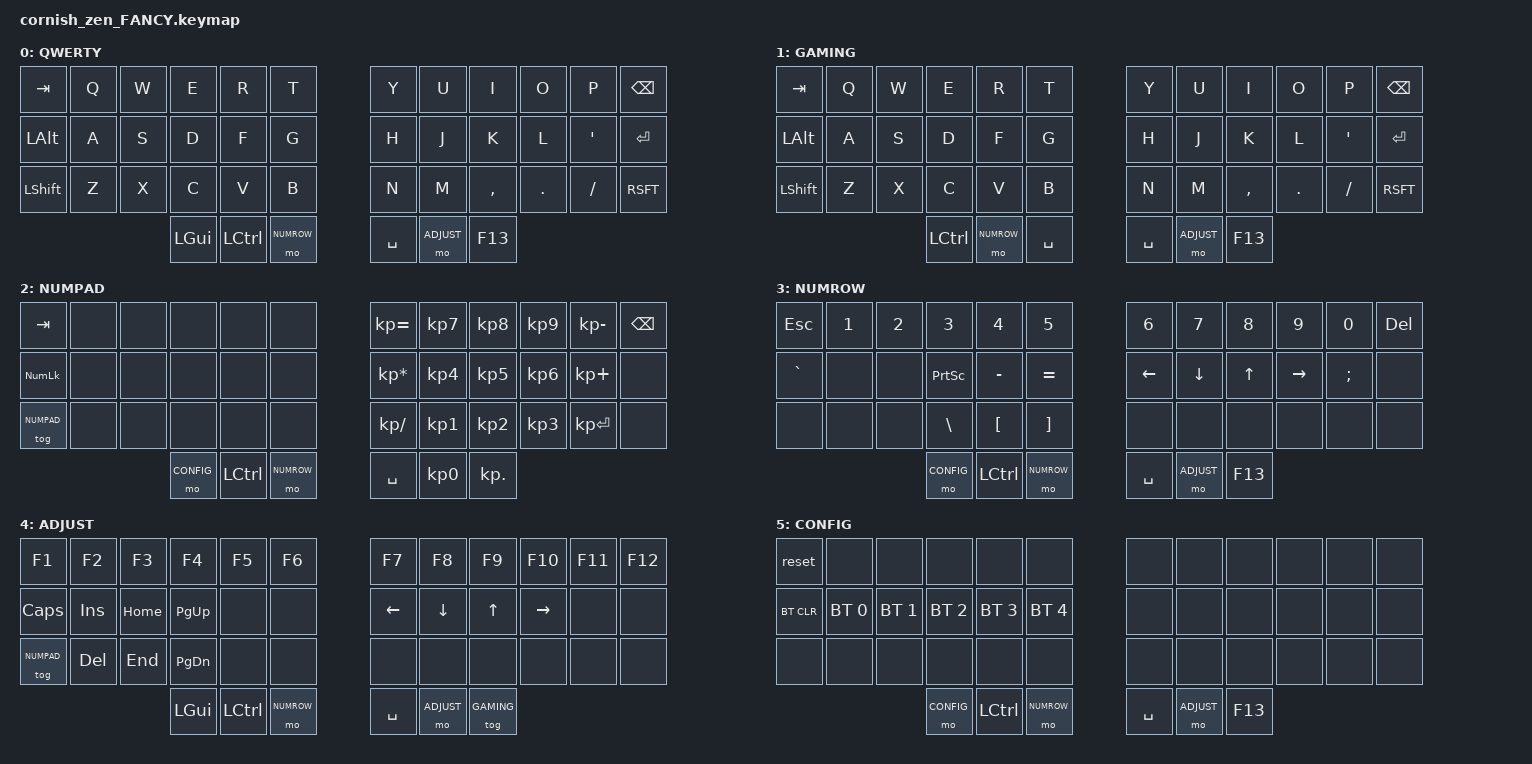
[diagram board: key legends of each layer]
/*
*
* Copyright (c) 2021 lowprokb.ca
* SPDX-License-Identifier: MIT
*
*/

#include <behaviors.dtsi>
#include <dt-bindings/zmk/keys.h>
#include <dt-bindings/zmk/bt.h>

#define QWERTY 0
#define GAMING 1
#define NUMPAD 2
#define NUMROW 3
#define ADJUST 4
#define CONFIG 5

/ {
        keymap {
                compatible = "zmk,keymap";

                default_layer {
                        label = "QWERTY";
                        bindings = <
// ╭─────────────┬─────────────┬─────────────┬─────────────┬─────────────┬─────────────╮   ╭─────────────┬─────────────┬─────────────┬─────────────┬─────────────┬─────────────╮
     &kp TAB       &kp Q         &kp W         &kp E         &kp R         &kp T             &kp Y         &kp U         &kp I         &kp O         &kp P         &kp BKSP
// ├─────────────┼─────────────┼─────────────┼─────────────┼─────────────┼─────────────┤   ├─────────────┼─────────────┼─────────────┼─────────────┼─────────────┼─────────────┤
     &kp LALT      &kp A         &kp S         &kp D         &kp F         &kp G             &kp H         &kp J         &kp K         &kp L         &kp QUOT      &kp ENTER
// ├─────────────┼─────────────┼─────────────┼─────────────┼─────────────┼─────────────┤   ├─────────────┼─────────────┼─────────────┼─────────────┼─────────────┼─────────────┤
     &kp LSHFT     &kp Z         &kp X         &kp C         &kp V         &kp B             &kp N         &kp M         &kp CMMA      &kp DOT       &kp FSLH      &kp RSFT
// ╰─────────────┴─────────────┴─────────────┼─────────────┼─────────────┼─────────────┤   ├─────────────┼─────────────┼─────────────┼─────────────┴─────────────┴─────────────╯
                                               &kp LGUI      &kp LCTL      &mo NUMROW        &kp SPC       &mo ADJUST    &kp F13
//                                           ╰─────────────┴─────────────┴─────────────╯   ╰─────────────┴─────────────┴─────────────╯
                        >;
                };

                gaming_layer {
                        label = "GAMING";
                        bindings = <
// ╭─────────────┬─────────────┬─────────────┬─────────────┬─────────────┬─────────────╮   ╭─────────────┬─────────────┬─────────────┬─────────────┬─────────────┬─────────────╮
     &kp TAB       &kp Q         &kp W         &kp E         &kp R         &kp T             &kp Y         &kp U         &kp I         &kp O         &kp P         &kp BKSP
// ├─────────────┼─────────────┼─────────────┼─────────────┼─────────────┼─────────────┤   ├─────────────┼─────────────┼─────────────┼─────────────┼─────────────┼─────────────┤
     &kp LALT      &kp A         &kp S         &kp D         &kp F         &kp G             &kp H         &kp J         &kp K         &kp L         &kp QUOT      &kp ENTER
// ├─────────────┼─────────────┼─────────────┼─────────────┼─────────────┼─────────────┤   ├─────────────┼─────────────┼─────────────┼─────────────┼─────────────┼─────────────┤
     &kp LSHFT     &kp Z         &kp X         &kp C         &kp V         &kp B             &kp N         &kp M         &kp CMMA      &kp DOT       &kp FSLH      &kp RSFT
// ╰─────────────┴─────────────┴─────────────┼─────────────┼─────────────┼─────────────┤   ├─────────────┼─────────────┼─────────────┼─────────────┴─────────────┴─────────────╯
                                               &kp LCTL      &mo NUMROW    &kp SPC           &kp SPC       &mo ADJUST    &kp F13
//                                           ╰─────────────┴─────────────┴─────────────╯   ╰─────────────┴─────────────┴─────────────╯
                        >;
                };

                numpad_layer {
                        label = "NUMPAD";
                        bindings = < 
// ╭─────────────┬─────────────┬─────────────┬─────────────┬─────────────┬─────────────╮   ╭─────────────┬─────────────┬─────────────┬─────────────┬─────────────┬─────────────╮
     &kp TAB       &none         &none         &none         &none         &none             &kp KP_EQUAL  &kp KP_N7     &kp KP_N8     &kp KP_N9     &kp KP_MINUS  &kp BSPC
// ├─────────────┼─────────────┼─────────────┼─────────────┼─────────────┼─────────────┤   ├─────────────┼─────────────┼─────────────┼─────────────┼─────────────┼─────────────┤
     &kp KP_NLCK   &none         &none         &none         &none         &none           &kp KP_ASTERISK &kp KP_N4     &kp KP_N5     &kp KP_N6     &kp KP_PLUS   &none
// ├─────────────┼─────────────┼─────────────┼─────────────┼─────────────┼─────────────┤   ├─────────────┼─────────────┼─────────────┼─────────────┼─────────────┼─────────────┤
     &tog NUMPAD   &none         &none         &none         &none         &none             &kp KP_SLASH  &kp KP_N1     &kp KP_N2     &kp KP_N3     &kp KP_ENTER  &none
// ╰─────────────┴─────────────┴─────────────┼─────────────┼─────────────┼─────────────┤   ├─────────────┼─────────────┼─────────────┼─────────────┴─────────────┴─────────────╯
                                               &mo CONFIG    &kp LCTL      &mo NUMROW        &kp SPC       &kp KP_N0     &kp KP_DOT
//                                           ╰─────────────┴─────────────┴─────────────╯   ╰─────────────┴─────────────┴─────────────╯
                        >;
                };

                numrow_layer {
                        label = "NUMROW";
                        bindings = <
// ╭─────────────┬─────────────┬─────────────┬─────────────┬─────────────┬─────────────╮   ╭─────────────┬─────────────┬─────────────┬─────────────┬─────────────┬─────────────╮
     &kp ESC       &kp N1        &kp N2        &kp N3        &kp N4        &kp N5            &kp N6        &kp N7        &kp N8        &kp N9        &kp N0        &kp DEL
// ├─────────────┼─────────────┼─────────────┼─────────────┼─────────────┼─────────────┤   ├─────────────┼─────────────┼─────────────┼─────────────┼─────────────┼─────────────┤
     &kp GRAVE     &none         &none         &kp PSCRN     &kp MINUS     &kp EQUAL         &kp LEFT      &kp DOWN      &kp UP        &kp RIGHT     &kp SEMI      &none
// ├─────────────┼─────────────┼─────────────┼─────────────┼─────────────┼─────────────┤   ├─────────────┼─────────────┼─────────────┼─────────────┼─────────────┼─────────────┤
     &none         &none         &none         &kp BSLH      &kp LBKT      &kp RBKT          &none         &none         &none         &none         &none         &none 
// ╰─────────────┴─────────────┴─────────────┼─────────────┼─────────────┼─────────────┤   ├─────────────┼─────────────┼─────────────┼─────────────┴─────────────┴─────────────╯
                                               &mo CONFIG    &kp LCTL      &mo NUMROW        &kp SPC       &mo ADJUST    &kp F13
//                                           ╰─────────────┴─────────────┴─────────────╯   ╰─────────────┴─────────────┴─────────────╯
                        >;
                };

                adjust_layer {
                        label = "ADJUST";
                        bindings = <
// ╭─────────────┬─────────────┬─────────────┬─────────────┬─────────────┬─────────────╮   ╭─────────────┬─────────────┬─────────────┬─────────────┬─────────────┬─────────────╮
     &kp F1        &kp F2        &kp F3        &kp F4        &kp F5        &kp F6            &kp F7        &kp F8        &kp F9        &kp F10       &kp F11       &kp F12
// ├─────────────┼─────────────┼─────────────┼─────────────┼─────────────┼─────────────┤   ├─────────────┼─────────────┼─────────────┼─────────────┼─────────────┼─────────────┤
     &kp CAPS      &kp INS       &kp HOME      &kp PG_UP     &none         &none             &kp LEFT      &kp DOWN      &kp UP        &kp RIGHT     &none         &none
// ├─────────────┼─────────────┼─────────────┼─────────────┼─────────────┼─────────────┤   ├─────────────┼─────────────┼─────────────┼─────────────┼─────────────┼─────────────┤
     &tog NUMPAD   &kp DEL       &kp END       &kp PG_DN     &none         &none             &none         &none         &none         &none         &none         &none
// ╰─────────────┴─────────────┴─────────────┼─────────────┼─────────────┼─────────────┤   ├─────────────┼─────────────┼─────────────┼─────────────┴─────────────┴─────────────╯
                                               &kp LGUI      &kp LCTL      &mo NUMROW        &kp SPC       &mo ADJUST    &tog GAMING
//                                           ╰─────────────┴─────────────┴─────────────╯   ╰─────────────┴─────────────┴─────────────╯
                        >;
                };

                config_layer {
                        label = "CONFIG";
                        bindings = <
// ╭─────────────┬─────────────┬─────────────┬─────────────┬─────────────┬─────────────╮   ╭─────────────┬─────────────┬─────────────┬─────────────┬─────────────┬─────────────╮
     &reset        &none         &none         &none         &none         &none             &none         &none         &none         &none         &none         &none 
// ├─────────────┼─────────────┼─────────────┼─────────────┼─────────────┼─────────────┤   ├─────────────┼─────────────┼─────────────┼─────────────┼─────────────┼─────────────┤
     &bt BT_CLR    &bt BT_SEL 0  &bt BT_SEL 1  &bt BT_SEL 2  &bt BT_SEL 3  &bt BT_SEL 4      &none         &none         &none         &none         &none         &none
// ├─────────────┼─────────────┼─────────────┼─────────────┼─────────────┼─────────────┤   ├─────────────┼─────────────┼─────────────┼─────────────┼─────────────┼─────────────┤
     &none         &none         &none         &none         &none         &none             &none         &none         &none         &none         &none         &none
// ╰─────────────┴─────────────┴─────────────┼─────────────┼─────────────┼─────────────┤   ├─────────────┼─────────────┼─────────────┼─────────────┴─────────────┴─────────────╯
                                               &mo CONFIG    &kp LCTL      &mo NUMROW        &kp SPC       &mo ADJUST    &kp F13
//                                           ╰─────────────┴─────────────┴─────────────╯   ╰─────────────┴─────────────┴─────────────╯
                      >;
                };
        };
};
